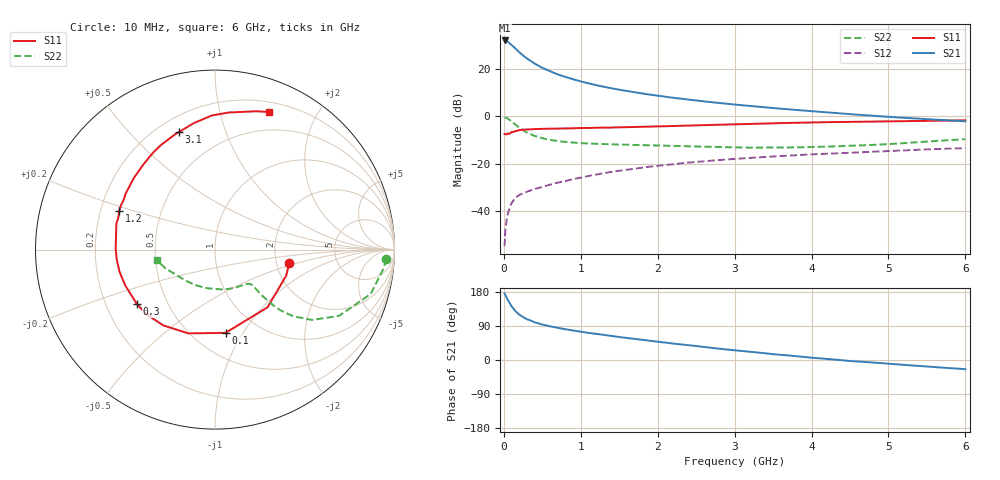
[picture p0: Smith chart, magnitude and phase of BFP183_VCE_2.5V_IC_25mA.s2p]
! Infineon Technologies  Discrete & RF Semiconductors
! BFP183
! VCE = 2.5 V,  IC =  25 mA
! Common Emitter S-Parameters:  Jan 2016
# GHz  S  MA  R  50
!  f  S11  S21  S12  S22
! GHz  MAG  ANG  MAG  ANG  MAG  ANG  MAG  ANG
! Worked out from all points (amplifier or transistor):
!   210 points, 10 MHz to 6 GHz, reference 50 ohm
!   highest |S21| = 32.1 dB at 10 MHz (marker M1)
!   |S21| within 3 dB of that: start of sweep to 136.4 MHz
!   unconditionally stable (mu >= 1): 670.2 MHz to 5.608 GHz
!   at 185 MHz: K = 0.45, MSG = 30.6 dB, |S12| = -33.6 dB
!   at 1.52 GHz: K = 1.17, MAG = 14.5 dB, |S12| = -22.9 dB
!   at 6 GHz: K = 0.96, MSG = 5.7 dB, |S12| = -13.4 dB
!   S11 on the Smith chart (normalised r, x): 10 MHz: 2.36, -0.42; 100 MHz: 0.71, -0.84; 300 MHz: 0.33, -0.28; 1.2 GHz: 0.28, +0.18; 3.1 GHz: 0.28, +0.70; 6 GHz: 0.30, +1.43
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0.01  0.4208 -9.9  40.25 175.5  0.0018 87.5  0.9549 -3.1
0.02  0.4224 -20.2  40.14 171.5  0.004 81.8  0.9447 -6.5
0.05  0.4348 -47.7  38.22 158.7  0.0084 78.1  0.902 -15.9
0.1  0.4676 -82.8  32.49 141.6  0.0146 62.3  0.7837 -28.1
0.15  0.4899 -107.7  27.22 128.7  0.0189 55.8  0.6685 -35.9
0.2  0.5112 -124.3  22.8 119.6  0.0218 52.2  0.5763 -40.3
0.24  0.5198 -133.8  20 114.3  0.0232 50.7  0.5212 -42.1
0.26  0.5243 -137.9  18.81 111.8  0.024 50.3  0.4967 -42.8
0.3  0.5305 -145.1  16.75 107.6  0.0255 50.1  0.4536 -43.7
0.4  0.5384 -158.1  13.06 99.4  0.029 51.0  0.3854 -44.3
0.5  0.5461 -167.0  10.59 93.5  0.0322 51.0  0.3443 -44.2
0.6  0.5504 -174.4  8.99 88.8  0.036 52.2  0.3177 -43.8
0.7  0.5534 179.5  7.696 84.8  0.0396 54.4  0.3 -43.5
0.8  0.554 174.3  6.804 81.1  0.0428 54.5  0.2877 -43.5
1.02  0.5677 164.6  5.366 74.0  0.0514 55.9  0.2706 -44.8
1.2  0.5758 158.1  4.563 69.0  0.0587 55.4  0.2629 -46.5
1.5  0.5875 148.1  3.66 60.6  0.0709 55.0  0.2534 -50.4
2.02  0.6138 132.6  2.695 47.8  0.0908 51.6  0.2418 -60.3
3.1  0.6854 107.0  1.716 23.8  0.1292 42.2  0.2194 -89.0
4.1  0.7502 90.0  1.25 4.6  0.1596 33.1  0.2269 -121.5
5.1  0.787 77.5  0.953 -11.3  0.1866 25.2  0.265 -150.0
6  0.8238 68.5  0.786 -24.3  0.2131 16.6  0.3298 -169.7
